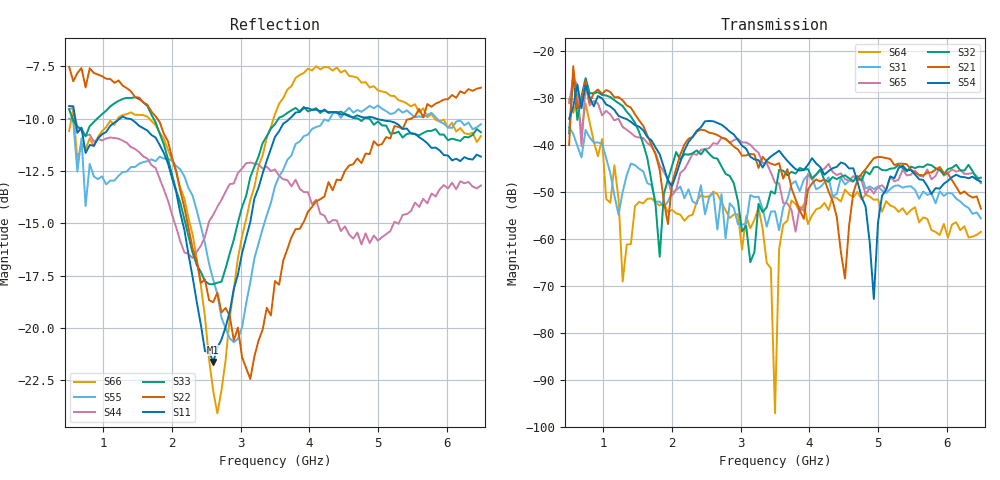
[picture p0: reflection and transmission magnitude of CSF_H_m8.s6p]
!Keysight Technologies,M9804A,MY58100912,A.14.10.03
!Date: Thursday, April 27, 2023 10:28:33
!Correction: S11(C  6-Port  )
!S12(C  6-Port  )
!S13(C  6-Port  )
!S14(C  6-Port  )
!S15(C  6-Port  )
!S16(C  6-Port  )
!S21(C  6-Port  )
!S22(C  6-Port  )
!S23(C  6-Port  )
!S24(C  6-Port  )
!S25(C  6-Port  )
!S26(C  6-Port  )
!S31(C  6-Port  )
!S32(C  6-Port  )
!S33(C  6-Port  )
!S34(C  6-Port  )
!S35(C  6-Port  )
!S36(C  6-Port  )
!S41(C  6-Port  )
!S42(C  6-Port  )
!S43(C  6-Port  )
!S44(C  6-Port  )
!S45(C  6-Port  )
!S46(C  6-Port  )
!S51(C  6-Port  )
!S52(C  6-Port  )
!S53(C  6-Port  )
!S54(C  6-Port  )
!S55(C  6-Port  )
!S56(C  6-Port  )
!S61(C  6-Port  )
!S62(C  6-Port  )
!S63(C  6-Port  )
!S64(C  6-Port  )
!S65(C  6-Port  )
!S66(C  6-Port  )
!S6P File: Measurement: :
# Hz S  RI  R 50
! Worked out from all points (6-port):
!   101 points, 500 MHz to 6.5 GHz, reference 50 ohm
!   strongest paths, dB at 500 MHz, 2 GHz, 3.5 GHz, 5 GHz, 6.5 GHz:
!     S54: -34.5, -48.8, -41.9, -56.6, -47.9
!     S21: -40.1, -48.2, -44.3, -42.6, -53.6
!     S32: -37.6, -44.5, -50.4, -44.7, -47.0
!     S65: -31.1, -50.8, -48.1, -49.0, -48.2
!     S31: -36.3, -50.0, -54.1, -48.9, -55.7
!     S64: -30.3, -53.8, -97.1, -51.6, -58.5
!   lowest |S11| = -21.6 dB at 2.6 GHz (marker M1), VSWR 1.18, Z = 42.6 + j2.03 ohm
!   |S11| at or under -10 dB: 587.9 MHz to 1.241 GHz (652.9 MHz wide, 71.4 % of centre); 1.358 GHz to 3.715 GHz (2.357 GHz wide, 92.9 % of centre); 4.975 GHz to end of sweep
